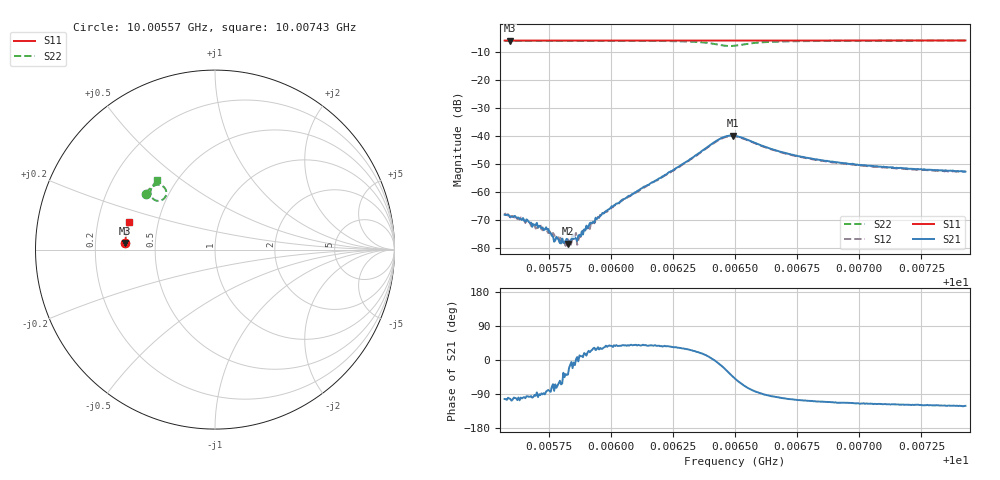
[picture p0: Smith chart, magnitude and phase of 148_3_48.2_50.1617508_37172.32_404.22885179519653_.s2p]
#  HZ  S  RI  R  50.00
! Rohde & Schwarz Vector Network Analyzer
! Rohde-Schwarz,ZNB20-2Port,1311601062101988,3.16
! Created: UTC 3/20/2024, 11:42:42 AM
! freq[Hz]  re:S11  im:S11  re:S21  im:S21  re:S12  im:S12  re:S22  im:S22
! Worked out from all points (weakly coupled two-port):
!   401 points, 10.00557 GHz to 10.00743 GHz, reference 50 ohm
!   highest |S21| = -39.82 dB at 10.00649 GHz (marker M1); lowest = -78.3 dB at 10.00583 GHz (marker M2)
!   lowest |S11| = -6.0 dB at 10.00559 GHz (marker M3), VSWR 3.01, Z = 16.7 + j1.61 ohm
!   |S11| at or under -10 dB: nowhere
!   |S22| runs from -7.9 to -6.0 dB; largest |S21 - S12| = 0.00059
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1.0005571e10  -0.4997 0.0347  -8.93e-05 -0.000388  -7.9e-05 -0.00042  -0.3869 0.3118
1.0005595e10  -0.4994 0.0362  -8.03e-05 -0.000354  -6.12e-05 -0.000362  -0.386 0.3132
1.0005655e10  -0.4994 0.0401  -5.59e-05 -0.000293  -4.7e-05 -0.000281  -0.3832 0.3166
1.000572e10  -0.4991 0.0443  8.12e-06 -0.000228  -7.7e-06 -0.000219  -0.38 0.3207
1.0005748e10  -0.499 0.0462  4.19e-05 -0.000218  2.42e-05 -0.000186  -0.3786 0.3225
1.0005766e10  -0.4989 0.0474  7.25e-05 -0.000147  8.22e-05 -0.00017  -0.3776 0.3236
1.000578e10  -0.4989 0.0485  4.61e-05 -0.000154  7.29e-05 -0.000135  -0.3768 0.3245
1.0005827e10  -0.4987 0.0514  9.47e-05 -7.52e-05  0.000114 -8.9e-05  -0.3745 0.3273
1.000584e10  -0.4985 0.0523  0.000143 -1.32e-05  0.000124 -2.93e-05  -0.3736 0.3283
1.000585e10  -0.4987 0.0529  0.000146 -1.69e-05  0.000148 -1.68e-05  -0.3731 0.3289
1.0005873e10  -0.4984 0.0543  0.000172 3.72e-05  0.000158 2.96e-05  -0.3718 0.3303
1.0005882e10  -0.4984 0.0549  0.000199 3.56e-05  0.000181 1.59e-05  -0.3713 0.331
1.000591e10  -0.4982 0.0567  0.00023 0.000104  0.000208 0.000101  -0.3696 0.333
1.0005966e10  -0.4979 0.0604  0.00037 0.000215  0.000344 0.000248  -0.3659 0.3366
1.0006193e10  -0.4964 0.0751  0.00139 0.00109  0.00134 0.00112  -0.3446 0.3534
1.000643e10  -0.4935 0.0903  0.00844 -0.00106  0.00829 -0.000586  -0.2727 0.3286
1.000649e10  -0.4929 0.0934  0.0074 -0.00703  0.0076 -0.00649  -0.2932 0.2771
1.0006499e10  -0.4928 0.094  0.00662 -0.00765  0.00685 -0.00715  -0.3016 0.2734
1.0006671e10  -0.4918 0.105  -0.000796 -0.00537  -0.000534 -0.00535  -0.3599 0.3195
1.000681e10  -0.4902 0.1138  -0.00122 -0.00376  -0.00105 -0.00373  -0.3539 0.3425
1.0007121e10  -0.4859 0.1337  -0.00124 -0.00248  -0.00112 -0.0025  -0.3367 0.3684
1.0007427e10  -0.4808 0.1527  -0.0012 -0.002  -0.00111 -0.00203  -0.3205 0.3857
